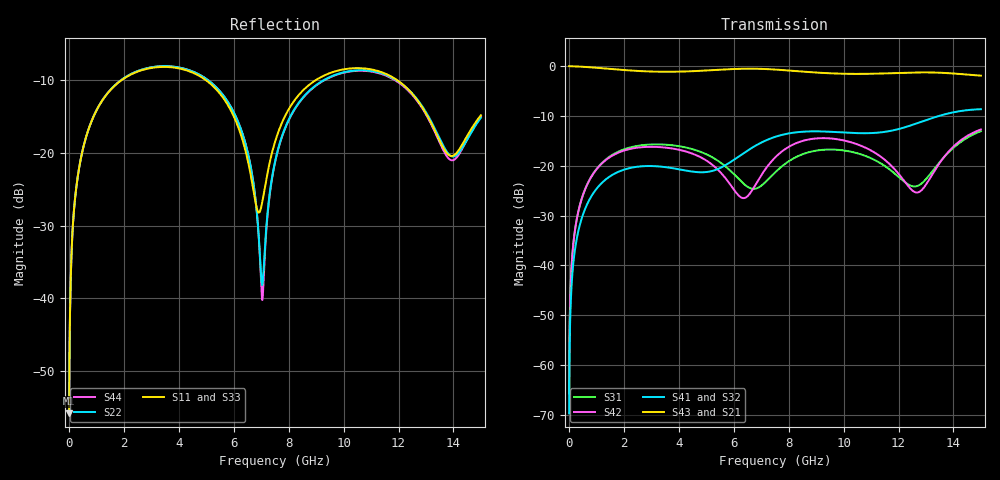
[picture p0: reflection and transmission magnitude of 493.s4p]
! Created with skrf 1.8.0 (http://scikit-rf.org).
# GHz S RI R 50.0
!freq ReS11 ImS11 ReS12 ImS12 ReS13 ImS13
! ReS14 ImS14
! ReS21 ImS21 ReS22 ImS22 ReS23 ImS23
! ReS24 ImS24
! ReS31 ImS31 ReS32 ImS32 ReS33 ImS33
! ReS34 ImS34
! ReS41 ImS41 ReS42 ImS42 ReS43 ImS43
! ReS44 ImS44
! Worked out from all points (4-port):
!   2499 points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, 5 MHz to 15 GHz, reference 50 ohm
!   strongest paths, dB at 5 MHz, 3.476 GHz, 7.19 GHz, 11.1 GHz, 15 GHz:
!     S43: 0.0, -1.1, -0.6, -1.5, -1.9
!     S21: 0.0, -1.1, -0.6, -1.5, -1.9
!     S41: -69.7, -20.3, -14.9, -13.4, -8.7
!     S32: -69.7, -20.2, -14.9, -13.4, -8.7
!     S42: -65.7, -16.3, -20.4, -17.3, -12.7
!     S31: -65.7, -15.8, -23.1, -18.8, -13.1
!   lowest |S11| = -55.8 dB at 5 MHz (marker M1), VSWR 1.00, Z = 50.1 + j0.0983 ohm
!   |S11| at or under -10 dB: start of sweep to 1.904 GHz; 4.997 GHz to 8.974 GHz (3.977 GHz wide, 56.9 % of centre); 11.96 GHz to end of sweep
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0.005  0.00129 0.000981  0.9987 -0.00252  6.4e-05 0.000514  -6.21e-05 -0.000321
       0.9987 -0.00252  0.00129 0.000981  -6.21e-05 -0.000321  6.38e-05 0.000514
       6.4e-05 0.000514  -6.21e-05 -0.000321  0.00129 0.000981  0.9987 -0.00252
       -6.21e-05 -0.000321  6.38e-05 0.000514  0.9987 -0.00252  0.00129 0.000981
0.4126719  0.0244 0.0844  0.9662 -0.2054  0.0122 0.0399  -0.00967 -0.0247
           0.9662 -0.2054  0.0246 0.0843  -0.00967 -0.0247  0.0111 0.0402
           0.0122 0.0399  -0.00967 -0.0247  0.0244 0.0844  0.9662 -0.2054
           -0.00967 -0.0247  0.0111 0.0402  0.9662 -0.2054  0.0246 0.0843
2.125886  0.2899 0.1709  0.4984 -0.7591  0.1431 0.0444  -0.0934 0.00248
          0.4984 -0.7591  0.2945 0.1675  -0.0935 0.00263  0.13 0.0648
          0.1431 0.0444  -0.0935 0.00263  0.2898 0.171  0.4985 -0.759
          -0.0934 0.00248  0.13 0.0648  0.4985 -0.759  0.2946 0.1674
5.677366  0.1584 -0.1674  -0.7195 -0.5833  -0.00936 -0.0991  -0.0474 0.0887
          -0.7195 -0.5833  0.1462 -0.1912  -0.0461 0.0898  0.069 -0.0325
          -0.00936 -0.0991  -0.0461 0.0898  0.1598 -0.1663  -0.7193 -0.5834
          -0.0474 0.0887  0.069 -0.0325  -0.7193 -0.5834  0.1451 -0.1924
6.952897  0.0392 0.00615  -0.9368 -0.0682  -0.0512 0.0342  -0.00996 0.1677
          -0.9368 -0.0682  0.012 -0.0159  -0.00737 0.1677  0.0587 0.0487
          -0.0512 0.0342  -0.00737 0.1677  0.0421 0.00555  -0.9368 -0.0687
          -0.00996 0.1677  0.0587 0.0487  -0.9368 -0.0687  0.00948 -0.0166
10.99833  0.3704 -0.0665  0.0768 0.8327  0.0881 -0.0799  0.203 -0.0633
          0.0768 0.8327  0.3645 -0.0447  0.2022 -0.0682  0.0946 -0.1062
          0.0881 -0.0799  0.2022 -0.0682  0.3661 -0.0676  0.0767 0.8343
          0.203 -0.0633  0.0946 -0.1062  0.0767 0.8343  0.3613 -0.0426
15  0.1649 0.077  0.7625 -0.2497  0.1344 0.177  -0.1554 -0.335
    0.7625 -0.2497  0.1566 0.078  -0.1641 -0.3305  0.1376 0.1857
    0.1344 0.177  -0.1641 -0.3305  0.1694 0.0772  0.7619 -0.2498
    -0.1554 -0.335  0.1376 0.1857  0.7619 -0.2498  0.1547 0.0864
